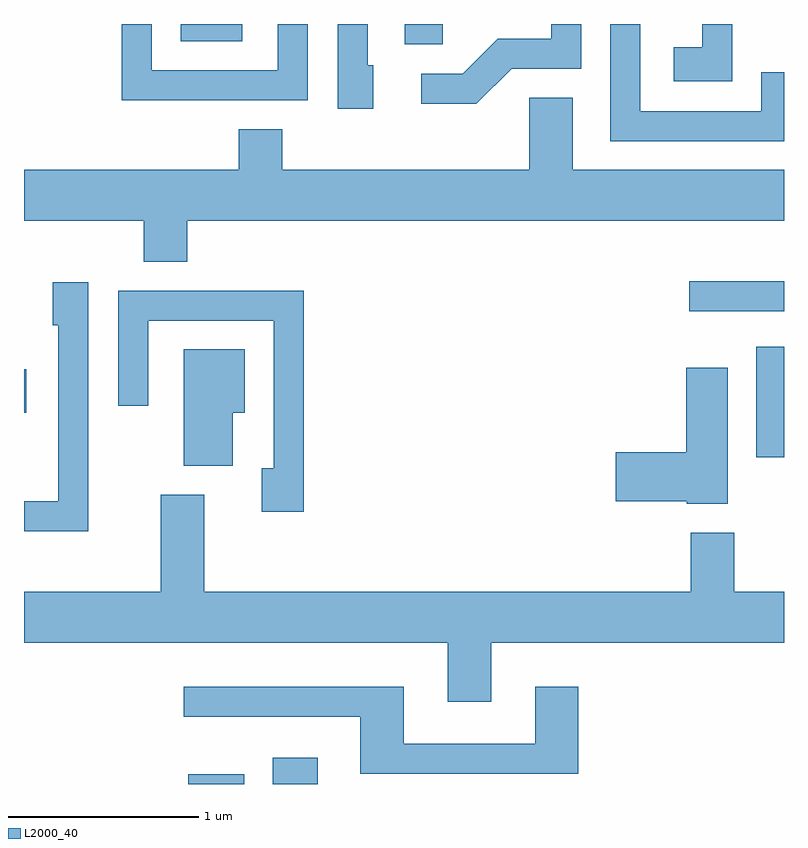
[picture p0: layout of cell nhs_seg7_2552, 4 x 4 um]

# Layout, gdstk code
import gdstk
lib = gdstk.Library(unit=1e-6, precision=1e-09)
def R(c, l, rs):  # rectangles x0, y0, x1, y1
    for r in rs: c.add(gdstk.rectangle(r[:2], r[2:], *l))
def P(c, l, *ps):  # polygons
    for p in ps: c.add(gdstk.Polygon(p, *l))
L2000_40 = (2000, 40)

nhs_seg7_2552 = lib.new_cell('nhs_seg7_2552')
R(nhs_seg7_2552, L2000_40, [(264.476,1700.252,264.769,1700.304), (264.921,1700.252,265.158,1700.389), (267.466,1701.971,267.611,1702.554), (263.611,1702.206,263.624,1702.434), (267.113,1702.741,267.611,1702.899), (265.616,1704.146,265.814,1704.252), (264.436,1704.161,264.759,1704.252)])
P(nhs_seg7_2552, L2000_40, [(267.339,1704.252),(267.181,1704.252),(267.181,1704.129),(267.031,1704.129),(267.031,1703.951),(267.339,1703.951)],
  [(265.449,1704.034),(265.419,1704.034),(265.419,1704.252),(265.261,1704.252),(265.261,1703.806),(265.449,1703.806)],
  [(267.611,1703.999),(267.491,1703.999),(267.491,1703.794),(266.854,1703.794),(266.854,1704.252),(266.696,1704.252),(266.696,1703.636),(267.611,1703.636)],
  [(265.104,1704.252),(264.946,1704.252),(264.946,1704.009),(264.284,1704.009),(264.284,1704.252),(264.126,1704.252),(264.126,1703.851),(265.104,1703.851)],
  [(266.177,1704.016),(266.544,1704.016),(266.544,1704.252),(266.386,1704.252),(266.386,1704.174),(266.104,1704.174),(265.919,1703.989),(265.703,1703.989),(265.703,1703.831),(265.992,1703.831)],
  [(264.469,1703.216),(267.611,1703.216),(267.611,1703.484),(266.499,1703.484),(266.499,1703.864),(266.271,1703.864),(266.271,1703.484),(264.969,1703.484),(264.969,1703.699),(264.741,1703.699),(264.741,1703.484),(263.611,1703.484),(263.611,1703.216),(264.241,1703.216),(264.241,1703.001),(264.469,1703.001)],
  [(263.949,1702.894),(263.761,1702.894),(263.761,1702.666),(263.791,1702.666),(263.791,1701.739),(263.611,1701.739),(263.611,1701.581),(263.949,1701.581)],
  [(265.084,1702.849),(264.106,1702.849),(264.106,1702.243),(264.264,1702.243),(264.264,1702.691),(264.926,1702.691),(264.926,1701.914),(264.861,1701.914),(264.861,1701.686),(265.084,1701.686)],
  [(264.709,1702.206),(264.774,1702.206),(264.774,1702.539),(264.451,1702.539),(264.451,1701.926),(264.709,1701.926)],
  [(267.314,1702.444),(267.096,1702.444),(267.096,1701.999),(266.726,1701.999),(266.726,1701.741),(267.1,1701.741),(267.1,1701.726),(267.314,1701.726)],
  [(265.841,1700.686),(266.069,1700.686),(266.069,1700.996),(267.611,1700.996),(267.611,1701.264),(267.349,1701.264),(267.349,1701.574),(267.121,1701.574),(267.121,1701.264),(264.559,1701.264),(264.559,1701.774),(264.331,1701.774),(264.331,1701.264),(263.611,1701.264),(263.611,1700.996),(265.841,1700.996)],
  [(266.529,1700.764),(266.301,1700.764),(266.301,1700.464),(265.609,1700.464),(265.609,1700.764),(264.453,1700.764),(264.453,1700.606),(265.381,1700.606),(265.381,1700.306),(266.529,1700.306)])

lib.write_gds('nhs_seg7_2552.gds')
